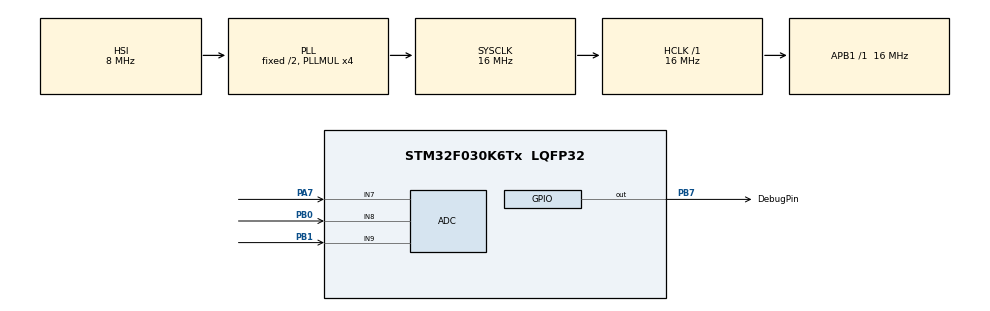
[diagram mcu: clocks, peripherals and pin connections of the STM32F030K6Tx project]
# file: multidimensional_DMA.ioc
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ADC.ContinuousConvMode=ENABLE
ADC.DMAContinuousRequests=ENABLE
ADC.EOCSelection=ADC_EOC_SEQ_CONV
ADC.SamplingTime=ADC_SAMPLETIME_71CYCLES_5
Dma.ADC.0.Direction=DMA_PERIPH_TO_MEMORY
Dma.ADC.0.Instance=DMA1_Channel1
Dma.ADC.0.MemDataAlignment=DMA_MDATAALIGN_HALFWORD
Dma.ADC.0.MemInc=DMA_MINC_ENABLE
Dma.ADC.0.Mode=DMA_CIRCULAR
Dma.ADC.0.PeriphDataAlignment=DMA_PDATAALIGN_HALFWORD
Dma.ADC.0.PeriphInc=DMA_PINC_DISABLE
Dma.ADC.0.Priority=DMA_PRIORITY_LOW
Dma.Request0=ADC
Mcu.Family=STM32F0
Mcu.Name=STM32F030K6Tx
Mcu.Package=LQFP32
NVIC.DMA1_Channel1_IRQn=true\:0\:0\:false\:false\:true\:false\:true
PA13.Mode=Serial_Wire
PA13.Signal=SYS_SWDIO
PA14.Mode=Serial_Wire
PA14.Signal=SYS_SWCLK
PA7.Mode=IN7
PA7.Signal=ADC_IN7
PB0.Mode=IN8
PB0.Signal=ADC_IN8
PB1.Mode=IN9
PB1.Signal=ADC_IN9
PB7.GPIO_Label=DebugPin
PB7.Signal=GPIO_Output
ProjectManager.HeapSize=0x200
ProjectManager.StackSize=0x400
ProjectManager.TargetToolchain=STM32CubeIDE
RCC.AHBFreq_Value=16000000
RCC.APB1Freq_Value=16000000
RCC.APB1TimFreq_Value=16000000
RCC.HCLKFreq_Value=16000000
RCC.PLLMUL=RCC_PLL_MUL4
RCC.SYSCLKFreq_VALUE=16000000
RCC.SYSCLKSource=RCC_SYSCLKSOURCE_PLLCLK
board=custom

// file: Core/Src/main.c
/* USER CODE BEGIN Header */
/**
  ******************************************************************************
  * @file           : main.c
  * @brief          : Main program body
  ******************************************************************************
  * @attention
  *
  * Copyright (c) 2022 STMicroelectronics.
  * All rights reserved.
  *
  * This software is licensed under terms that can be found in the LICENSE file
  * in the root directory of this software component.
  * If no LICENSE file comes with this software, it is provided AS-IS.
  *
  ******************************************************************************
  */
/* USER CODE END Header */
#include "main.h"

/* USER CODE BEGIN Includes */

#include <string.h>

/* USER CODE END Includes */

/* USER CODE BEGIN PD */

#define NUM_CHANNELS 3
#define DMA_ARRAY_LEN 100

/* USER CODE END PD */

ADC_HandleTypeDef hadc;
DMA_HandleTypeDef hdma_adc;

/* USER CODE BEGIN PV */

uint16_t		DmaBuffer[NUM_CHANNELS * DMA_ARRAY_LEN];
unsigned char	ConversionComplete = 0;

/* USER CODE END PV */

void SystemClock_Config(void);
static void MX_GPIO_Init(void);
static void MX_DMA_Init(void);
static void MX_ADC_Init(void);

/* USER CODE BEGIN 0 */

void HAL_ADC_ConvCpltCallback(ADC_HandleTypeDef *hadc)
{
	/* Prevent unused argument(s) compilation warning */
	UNUSED(hadc);

	HAL_GPIO_TogglePin(DebugPin_GPIO_Port, DebugPin_Pin);
}

void HAL_ADC_ConvHalfCpltCallback(ADC_HandleTypeDef* hadc)
{
  /* Prevent unused argument(s) compilation warning */
  UNUSED(hadc);

  DmaBuffer[0] = (uint16_t)1234;
  memset ((void *)DmaBuffer, 0, NUM_CHANNELS * DMA_ARRAY_LEN * sizeof (DmaBuffer[0]));
  asm("nop");

  HAL_GPIO_TogglePin(DebugPin_GPIO_Port, DebugPin_Pin);
}

/* USER CODE END 0 */

int main(void)
{

  /* MCU Configuration--------------------------------------------------------*/

  /* Reset of all peripherals, Initializes the Flash interface and the Systick. */
  HAL_Init();

  /* Configure the system clock */
  SystemClock_Config();

  /* Initialize all configured peripherals */
  MX_GPIO_Init();
  MX_DMA_Init();
  MX_ADC_Init();

  /* Infinite loop */
  /* USER CODE BEGIN WHILE */
  memset ((void *)DmaBuffer, 0, NUM_CHANNELS * DMA_ARRAY_LEN * sizeof (DmaBuffer[0]));

  HAL_ADC_Start_DMA(&hadc, (uint32_t *)DmaBuffer, NUM_CHANNELS * DMA_ARRAY_LEN);
  while (1)
  {
    /* USER CODE END WHILE */

  }
}

void SystemClock_Config(void)
{
  RCC_OscInitTypeDef RCC_OscInitStruct = {0};
  RCC_ClkInitTypeDef RCC_ClkInitStruct = {0};

  /** Initializes the RCC Oscillators according to the specified parameters
  * in the RCC_OscInitTypeDef structure.
  */
  RCC_OscInitStruct.OscillatorType = RCC_OSCILLATORTYPE_HSI|RCC_OSCILLATORTYPE_HSI14;
  RCC_OscInitStruct.HSIState = RCC_HSI_ON;
  RCC_OscInitStruct.HSI14State = RCC_HSI14_ON;
  RCC_OscInitStruct.HSICalibrationValue = RCC_HSICALIBRATION_DEFAULT;
  RCC_OscInitStruct.HSI14CalibrationValue = 16;
  RCC_OscInitStruct.PLL.PLLState = RCC_PLL_ON;
  RCC_OscInitStruct.PLL.PLLSource = RCC_PLLSOURCE_HSI;
  RCC_OscInitStruct.PLL.PLLMUL = RCC_PLL_MUL4;
  RCC_OscInitStruct.PLL.PREDIV = RCC_PREDIV_DIV1;
  if (HAL_RCC_OscConfig(&RCC_OscInitStruct) != HAL_OK)
  {
    Error_Handler();
  }
  /** Initializes the CPU, AHB and APB buses clocks
  */
  RCC_ClkInitStruct.ClockType = RCC_CLOCKTYPE_HCLK|RCC_CLOCKTYPE_SYSCLK
                              |RCC_CLOCKTYPE_PCLK1;
  RCC_ClkInitStruct.SYSCLKSource = RCC_SYSCLKSOURCE_PLLCLK;
  RCC_ClkInitStruct.AHBCLKDivider = RCC_SYSCLK_DIV1;
  RCC_ClkInitStruct.APB1CLKDivider = RCC_HCLK_DIV1;

  if (HAL_RCC_ClockConfig(&RCC_ClkInitStruct, FLASH_LATENCY_0) != HAL_OK)
  {
    Error_Handler();
  }
}

static void MX_ADC_Init(void)
{

  ADC_ChannelConfTypeDef sConfig = {0};

  /** Configure the global features of the ADC (Clock, Resolution, Data Alignment and number of conversion)
  */
  hadc.Instance = ADC1;
  hadc.Init.ClockPrescaler = ADC_CLOCK_ASYNC_DIV1;
  hadc.Init.Resolution = ADC_RESOLUTION_12B;
  hadc.Init.DataAlign = ADC_DATAALIGN_RIGHT;
  hadc.Init.ScanConvMode = ADC_SCAN_DIRECTION_FORWARD;
  hadc.Init.EOCSelection = ADC_EOC_SEQ_CONV;
  hadc.Init.LowPowerAutoWait = DISABLE;
  hadc.Init.LowPowerAutoPowerOff = DISABLE;
  hadc.Init.ContinuousConvMode = ENABLE;
  hadc.Init.DiscontinuousConvMode = DISABLE;
  hadc.Init.ExternalTrigConv = ADC_SOFTWARE_START;
  hadc.Init.ExternalTrigConvEdge = ADC_EXTERNALTRIGCONVEDGE_NONE;
  hadc.Init.DMAContinuousRequests = ENABLE;
  hadc.Init.Overrun = ADC_OVR_DATA_PRESERVED;
  if (HAL_ADC_Init(&hadc) != HAL_OK)
  {
    Error_Handler();
  }
  /** Configure for the selected ADC regular channel to be converted.
  */
  sConfig.Channel = ADC_CHANNEL_7;
  sConfig.Rank = ADC_RANK_CHANNEL_NUMBER;
  sConfig.SamplingTime = ADC_SAMPLETIME_71CYCLES_5;
  if (HAL_ADC_ConfigChannel(&hadc, &sConfig) != HAL_OK)
  {
    Error_Handler();
  }
  /** Configure for the selected ADC regular channel to be converted.
  */
  sConfig.Channel = ADC_CHANNEL_8;
  if (HAL_ADC_ConfigChannel(&hadc, &sConfig) != HAL_OK)
  {
    Error_Handler();
  }
  /** Configure for the selected ADC regular channel to be converted.
  */
  sConfig.Channel = ADC_CHANNEL_9;
  if (HAL_ADC_ConfigChannel(&hadc, &sConfig) != HAL_OK)
  {
    Error_Handler();
  }

}

static void MX_DMA_Init(void)
{

  /* DMA controller clock enable */
  __HAL_RCC_DMA1_CLK_ENABLE();

  /* DMA interrupt init */
  /* DMA1_Channel1_IRQn interrupt configuration */
  HAL_NVIC_SetPriority(DMA1_Channel1_IRQn, 0, 0);
  HAL_NVIC_EnableIRQ(DMA1_Channel1_IRQn);

}

static void MX_GPIO_Init(void)
{
  GPIO_InitTypeDef GPIO_InitStruct = {0};

  /* GPIO Ports Clock Enable */
  __HAL_RCC_GPIOA_CLK_ENABLE();
  __HAL_RCC_GPIOB_CLK_ENABLE();

  /*Configure GPIO pin Output Level */
  HAL_GPIO_WritePin(DebugPin_GPIO_Port, DebugPin_Pin, GPIO_PIN_RESET);

  /*Configure GPIO pin : DebugPin_Pin */
  GPIO_InitStruct.Pin = DebugPin_Pin;
  GPIO_InitStruct.Mode = GPIO_MODE_OUTPUT_PP;
  GPIO_InitStruct.Pull = GPIO_NOPULL;
  GPIO_InitStruct.Speed = GPIO_SPEED_FREQ_LOW;
  HAL_GPIO_Init(DebugPin_GPIO_Port, &GPIO_InitStruct);

}

void Error_Handler(void)
{
  __disable_irq();
  while (1)
  {
  }
}
